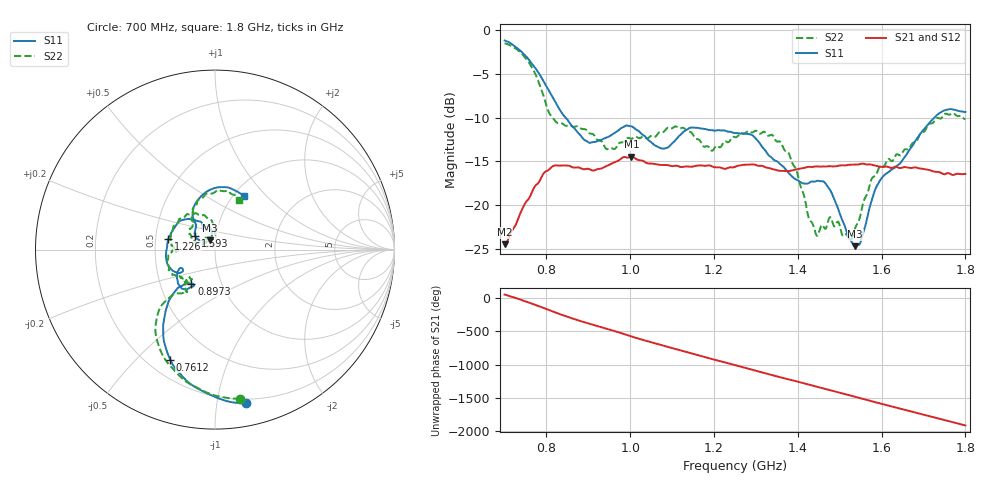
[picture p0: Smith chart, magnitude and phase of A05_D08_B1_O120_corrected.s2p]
! Created with skrf 1.9.0 (http://scikit-rf.org).
# Hz S RI R 50.0
!freq ReS11 ImS11 ReS21 ImS21 ReS12 ImS12 ReS22 ImS22
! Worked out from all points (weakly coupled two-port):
!   1601 points, 700 MHz to 1.8 GHz, reference 50 ohm
!   highest |S21| = -14.49 dB at 1.002 GHz (marker M1); lowest = -24.5 dB at 700 MHz (marker M2)
!   lowest |S11| = -24.7 dB at 1.537 GHz (marker M3), VSWR 1.12, Z = 47.1 + j4.85 ohm
!   |S11| at or under -10 dB: 845.6 MHz to 1.726 GHz (880.3 MHz wide, 68.5 % of centre)
!   |S22| runs from -24.1 to -1.5 dB; largest |S21 - S12| = 0.0037
!   S11 on the Smith chart (normalised r, x): 700 MHz: 0.17, -1.21; 761.2 MHz: 0.29, -0.63; 897.3 MHz: 0.72, -0.29; 1.226 GHz: 0.58, +0.08; 1.593 GHz: 0.79, +0.12; 1.8 GHz: 1.12, +0.76
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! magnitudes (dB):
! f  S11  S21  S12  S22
! 700 MHz  -1.2  -24.5  -24.3  -1.5
! 761.2 MHz  -3.6  -19.0  -18.9  -3.9
! 816.9 MHz  -7.8  -15.5  -15.6  -10.2
! 883.6 MHz  -12.2  -15.8  -15.7  -11.3
! 897.3 MHz  -12.7  -15.9  -15.9  -11.5
! 945.4 MHz  -12.3  -15.5  -15.5  -13.6
! 1.002 GHz  -11.0  -14.5  -14.6  -12.4
! 1.067 GHz  -13.4  -15.4  -15.3  -11.8
! 1.144 GHz  -11.1  -15.6  -15.6  -11.7
! 1.194 GHz  -11.4  -15.6  -15.5  -13.8
! 1.226 GHz  -11.5  -15.9  -15.8  -12.7
! 1.25 GHz  -11.8  -15.6  -15.6  -12.2
! 1.359 GHz  -15.4  -16.1  -16.1  -12.8
! 1.396 GHz  -17.1  -16.0  -15.9  -15.9
! 1.434 GHz  -17.3  -15.7  -15.6  -22.0
! 1.473 GHz  -18.0  -15.6  -15.6  -21.8
! 1.524 GHz  -23.9  -15.4  -15.4  -24.1
! 1.537 GHz  -24.7  -15.4  -15.4  -22.7
! 1.593 GHz  -17.4  -15.6  -15.6  -15.8
! 1.617 GHz  -16.2  -15.7  -15.6  -14.7
! 1.735 GHz  -9.6  -16.2  -16.3  -10.0
! 1.8 GHz  -9.4  -16.4  -16.4  -10.2
